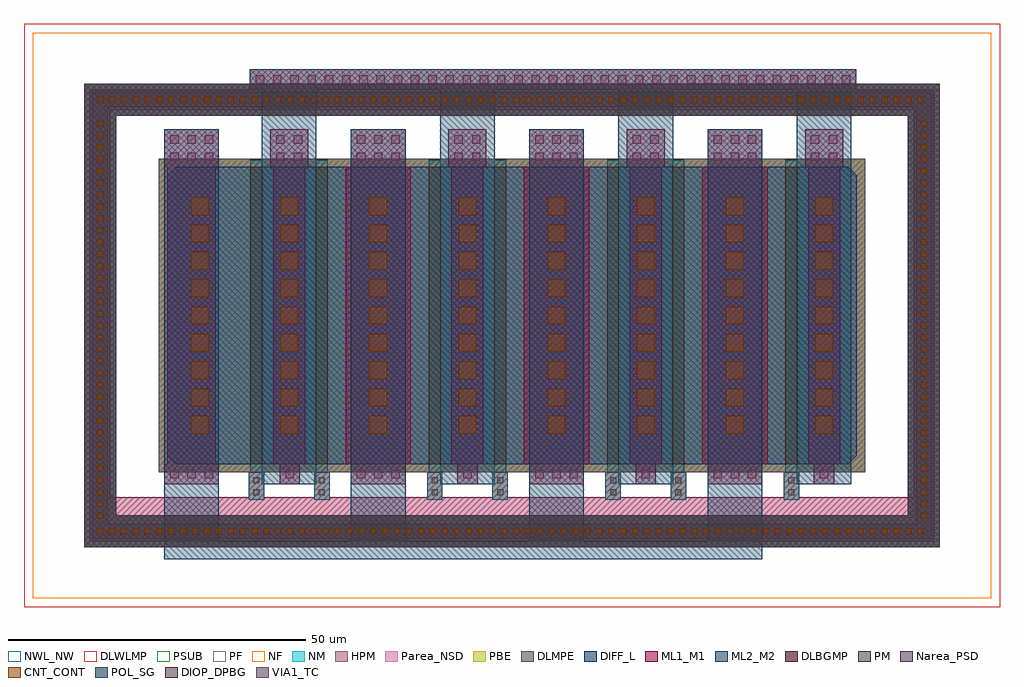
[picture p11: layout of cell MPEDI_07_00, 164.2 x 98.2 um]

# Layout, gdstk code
from math import pi, radians
import gdstk
lib = gdstk.Library(unit=1e-6, precision=1e-09)
def R(c, l, rs):  # rectangles x0, y0, x1, y1
    for r in rs: c.add(gdstk.rectangle(r[:2], r[2:], *l))
def A(c, l, x, y, w, h, nx, ny, dx, dy):  # array of equal rectangles
    R(c, l, [(x+i*dx, y+j*dy, x+i*dx+w, y+j*dy+h) for i in range(nx) for j in range(ny)])
def P(c, l, *ps):  # polygons
    for p in ps: c.add(gdstk.Polygon(p, *l))
DIFF_L = (3, 0)
NM = (7, 0)
POL_SG = (8, 0)
Narea_PSD = (9, 0)
CNT_CONT = (11, 0)
ML1_M1 = (13, 0)
VIA1_TC = (19, 0)
ML2_M2 = (20, 0)
NF = (25, 0)
PF = (26, 0)
Parea_NSD = (28, 0)
HPM = (33, 0)
PM = (35, 0)
NWL_NW = (36, 0)
DIOP_DPBG = (116, 0)
PSUB = (140, 0)
PBE = (146, 0)
DLWLMP = (150, 0)
DLMPE = (169, 0)
DLBGMP = (177, 0)

bgmp_cdns_696587100780 = lib.new_cell('BGMP_CDNS_696587100780')
R(bgmp_cdns_696587100780, DIFF_L, [(0,0,141.2,2.6)])
R(bgmp_cdns_696587100780, NM, [(-1.4,-1.4,142.6,4)])
R(bgmp_cdns_696587100780, Narea_PSD, [(-1.4,-1.4,142.6,4)])
A(bgmp_cdns_696587100780, CNT_CONT, 0.8, 0.8, 1, 1, 70, 1, 2, 0)
R(bgmp_cdns_696587100780, ML1_M1, [(0,0,141.2,2.6)])
R(bgmp_cdns_696587100780, HPM, [(-1.4,-1.4,142.6,4)])
R(bgmp_cdns_696587100780, PM, [(-1.4,-1.4,142.6,4)])

bgmp_cdns_696587100781 = lib.new_cell('BGMP_CDNS_696587100781')
R(bgmp_cdns_696587100781, DIFF_L, [(0,0,70,2.6)])
R(bgmp_cdns_696587100781, NM, [(-1.4,-1.4,71.4,4)])
R(bgmp_cdns_696587100781, Narea_PSD, [(-1.4,-1.4,71.4,4)])
A(bgmp_cdns_696587100781, CNT_CONT, 0.8, 0.8, 1, 1, 34, 1, 2, 0)
R(bgmp_cdns_696587100781, ML1_M1, [(0,0,70,2.6)])
R(bgmp_cdns_696587100781, HPM, [(-1.4,-1.4,71.4,4)])
R(bgmp_cdns_696587100781, PM, [(-1.4,-1.4,71.4,4)])

mpe_cdns_696587100782 = lib.new_cell('MPE_CDNS_696587100782')
R(mpe_cdns_696587100782, DIFF_L, [(10,0,12,50)])
P(mpe_cdns_696587100782, DIFF_L, [(12,0),(12,50),(24.6,50),(26,48.6),(26,1.4),(24.6,0)],
  [(1.4,0),(0,1.4),(0,48.6),(1.4,50),(10,50),(10,0)])
R(mpe_cdns_696587100782, NM, [(-1.4,-1.4,27.4,51.4)])
R(mpe_cdns_696587100782, POL_SG, [(10,-1.2,12,0), (10,-1.2,12,51.2), (10,50,12,51.2)])
A(mpe_cdns_696587100782, CNT_CONT, 4, 5.1, 3, 3, 1, 9, 0, 4.6)
A(mpe_cdns_696587100782, CNT_CONT, 19, 5.1, 3, 3, 1, 9, 0, 4.6)
R(mpe_cdns_696587100782, ML1_M1, [(2.8,0,8.2,50), (17.8,0,26,50)])
R(mpe_cdns_696587100782, Parea_NSD, [(-1.4,-1.4,27.4,51.4)])
R(mpe_cdns_696587100782, HPM, [(-1.4,-1.4,27.4,51.4)])
R(mpe_cdns_696587100782, DIOP_DPBG, [(10,0,12,50)])
R(mpe_cdns_696587100782, PBE, [(-1.4,-1.4,27.4,51.4)])
R(mpe_cdns_696587100782, DLMPE, [(-1.4,-1.4,27.4,51.4)])

wlmp_cdns_696587100783 = lib.new_cell('WLMP_CDNS_696587100783')
R(wlmp_cdns_696587100783, NF, [(1.5,1.5,162.7,96.7)])
R(wlmp_cdns_696587100783, PF, [(1.5,1.5,162.7,96.7)])
R(wlmp_cdns_696587100783, NWL_NW, [(0,0,164.2,98.2)])
R(wlmp_cdns_696587100783, PSUB, [(1.5,1.5,162.7,96.7)])
R(wlmp_cdns_696587100783, DLWLMP, [(0,0,164.2,98.2)])

tc14_cdns_696587100780 = lib.new_cell('TC14_CDNS_696587100780')
R(tc14_cdns_696587100780, ML1_M1, [(-51,-1.7,51,1.7)])
A(tc14_cdns_696587100780, VIA1_TC, -50, -0.7, 1.4, 1.4, 35, 1, 2.9, 0)
R(tc14_cdns_696587100780, ML2_M2, [(-51,-1.7,51,1.7)])

sgct_cdns_696587100781 = lib.new_cell('SGCT_CDNS_696587100781')
R(sgct_cdns_696587100781, POL_SG, [(-1.3,-2.3,1.3,2.3)])
R(sgct_cdns_696587100781, CNT_CONT, [(-0.5,-1.5,0.5,-0.5), (-0.5,0.5,0.5,1.5)])
R(sgct_cdns_696587100781, ML1_M1, [(-1.3,-2.3,1.3,2.3)])

tc14_cdns_696587100782 = lib.new_cell('TC14_CDNS_696587100782')
R(tc14_cdns_696587100782, ML1_M1, [(-4.6,-1.7,4.6,1.7)])
A(tc14_cdns_696587100782, VIA1_TC, -3.6, -0.7, 1.4, 1.4, 3, 1, 2.9, 0)
R(tc14_cdns_696587100782, ML2_M2, [(-4.6,-1.7,4.6,1.7)])

tc14_cdns_696587100783 = lib.new_cell('TC14_CDNS_696587100783')
R(tc14_cdns_696587100783, ML1_M1, [(-4.6,-3.1,4.6,3.2)])
A(tc14_cdns_696587100783, VIA1_TC, -3.6, -2.1, 1.4, 1.4, 3, 2, 2.9, 2.9)
R(tc14_cdns_696587100783, ML2_M2, [(-4.6,-3.1,4.6,3.2)])

tc14_cdns_696587100784 = lib.new_cell('TC14_CDNS_696587100784')
R(tc14_cdns_696587100784, ML1_M1, [(-1.7,-3.1,1.7,3.2)])
R(tc14_cdns_696587100784, VIA1_TC, [(-0.7,-2.1,0.7,-0.7), (-0.7,0.8,0.7,2.2)])
R(tc14_cdns_696587100784, ML2_M2, [(-1.7,-3.1,1.7,3.2)])

tc14_cdns_696587100785 = lib.new_cell('TC14_CDNS_696587100785')
R(tc14_cdns_696587100785, ML1_M1, [(-1.7,-1.7,1.7,1.7)])
R(tc14_cdns_696587100785, VIA1_TC, [(-0.7,-0.7,0.7,0.7)])
R(tc14_cdns_696587100785, ML2_M2, [(-1.7,-1.7,1.7,1.7)])

mpedi_07_00 = lib.new_cell('MPEDI_07_00')
R(mpedi_07_00, POL_SG, [(38.1,22.7,40.1,22.9), (49.1,22.7,51.1,22.9), (68.1,22.7,70.1,22.9), (79.1,22.7,81.1,22.9), (98.1,22.7,100.1,22.9), (109.1,22.7,111.1,22.9), (128.1,22.7,130.1,22.9)])
R(mpedi_07_00, ML1_M1, [(14.1,14.1,150.1,18.5)])
A(mpedi_07_00, ML2_M2, 55, 8.1, 9.2, 72.3, 3, 1, 30, 0)
A(mpedi_07_00, ML2_M2, 40, 20.7, 9.2, 69.8, 4, 1, 30, 0)
R(mpedi_07_00, ML2_M2, [(23.6,8.1,32.8,80.4), (23.6,8.1,25,9.5), (38,89.1,39.4,90.5)])
R(mpedi_07_00, DLBGMP, [(10.1,10.1,154.1,15.5), (10.1,12.7,15.5,85.5), (148.7,12.7,154.1,85.5), (10.1,82.7,154.1,88.1)])
mpedi_07_00.add(gdstk.FlexPath([(11.1,12.8),(153.1,12.8)], 3.4, ends="flush", simple_path=True, layer=13, datatype=0))  # ML1_M1
mpedi_07_00.add(gdstk.FlexPath([(11.1,85.4),(153.1,85.4)], 3.4, ends="flush", simple_path=True, layer=13, datatype=0))  # ML1_M1
mpedi_07_00.add(gdstk.FlexPath([(12.8,11.1),(12.8,87.1)], 3.4, ends="flush", simple_path=True, layer=13, datatype=0))  # ML1_M1
mpedi_07_00.add(gdstk.FlexPath([(151.4,11.1),(151.4,87.1)], 3.4, ends="flush", simple_path=True, layer=13, datatype=0))  # ML1_M1
mpedi_07_00.add(gdstk.FlexPath([(124.2,9.6),(23.6,9.6)], 3, ends="flush", simple_path=True, layer=20, datatype=0))  # ML2_M2
mpedi_07_00.add(gdstk.Reference(bgmp_cdns_696587100780, (11.5,11.5)))
mpedi_07_00.add(gdstk.Reference(bgmp_cdns_696587100780, (11.5,84.1)))
mpedi_07_00.add(gdstk.Reference(bgmp_cdns_696587100781, (14.1,14.1), rotation=pi/2))
mpedi_07_00.add(gdstk.Reference(bgmp_cdns_696587100781, (152.7,14.1), rotation=pi/2))
mpedi_07_00.add(gdstk.Reference(mpe_cdns_696587100782, (110.1,24.1), rotation=pi, x_reflection=True))
mpedi_07_00.add(gdstk.Reference(mpe_cdns_696587100782, (69.1,24.1)))
mpedi_07_00.add(gdstk.Reference(mpe_cdns_696587100782, (140.1,24.1), rotation=pi, x_reflection=True))
mpedi_07_00.add(gdstk.Reference(mpe_cdns_696587100782, (99.1,24.1)))
mpedi_07_00.add(gdstk.Reference(mpe_cdns_696587100782, (50.1,24.1), rotation=pi, x_reflection=True))
mpedi_07_00.add(gdstk.Reference(mpe_cdns_696587100782, (39.1,24.1)))
mpedi_07_00.add(gdstk.Reference(mpe_cdns_696587100782, (80.1,24.1), rotation=pi, x_reflection=True))
mpedi_07_00.add(gdstk.Reference(wlmp_cdns_696587100783, (0,0)))
mpedi_07_00.add(gdstk.Reference(tc14_cdns_696587100780, (89,88.8)))
mpedi_07_00.add(gdstk.Reference(sgct_cdns_696587100781, (129.1,20.4)))
mpedi_07_00.add(gdstk.Reference(sgct_cdns_696587100781, (110.1,20.4)))
mpedi_07_00.add(gdstk.Reference(sgct_cdns_696587100781, (99.1,20.4)))
mpedi_07_00.add(gdstk.Reference(sgct_cdns_696587100781, (80.1,20.4)))
mpedi_07_00.add(gdstk.Reference(sgct_cdns_696587100781, (69.1,20.4)))
mpedi_07_00.add(gdstk.Reference(sgct_cdns_696587100781, (50.1,20.4)))
mpedi_07_00.add(gdstk.Reference(sgct_cdns_696587100781, (39.1,20.4)))
mpedi_07_00.add(gdstk.Reference(tc14_cdns_696587100782, (119.6,22.4)))
mpedi_07_00.add(gdstk.Reference(tc14_cdns_696587100782, (89.6,22.4)))
mpedi_07_00.add(gdstk.Reference(tc14_cdns_696587100782, (59.6,22.4)))
mpedi_07_00.add(gdstk.Reference(tc14_cdns_696587100782, (28.2,22.4)))
mpedi_07_00.add(gdstk.Reference(tc14_cdns_696587100783, (119.6,77.2)))
mpedi_07_00.add(gdstk.Reference(tc14_cdns_696587100783, (89.6,77.2)))
mpedi_07_00.add(gdstk.Reference(tc14_cdns_696587100783, (59.6,77.2)))
mpedi_07_00.add(gdstk.Reference(tc14_cdns_696587100783, (28.2,77.2)))
mpedi_07_00.add(gdstk.Reference(tc14_cdns_696587100784, (136.1,77.2)))
mpedi_07_00.add(gdstk.Reference(tc14_cdns_696587100784, (133.1,77.2)))
mpedi_07_00.add(gdstk.Reference(tc14_cdns_696587100784, (106.1,77.2)))
mpedi_07_00.add(gdstk.Reference(tc14_cdns_696587100784, (103.1,77.2)))
mpedi_07_00.add(gdstk.Reference(tc14_cdns_696587100784, (76.1,77.2)))
mpedi_07_00.add(gdstk.Reference(tc14_cdns_696587100784, (73.1,77.2)))
mpedi_07_00.add(gdstk.Reference(tc14_cdns_696587100784, (46.1,77.2)))
mpedi_07_00.add(gdstk.Reference(tc14_cdns_696587100784, (43.1,77.2)))
mpedi_07_00.add(gdstk.Reference(tc14_cdns_696587100785, (134.6,22.4)))
mpedi_07_00.add(gdstk.Reference(tc14_cdns_696587100785, (104.6,22.4)))
mpedi_07_00.add(gdstk.Reference(tc14_cdns_696587100785, (74.6,22.4)))
mpedi_07_00.add(gdstk.Reference(tc14_cdns_696587100785, (44.7,22.4)))

lib.write_gds('MPEDI_07_00.gds')
